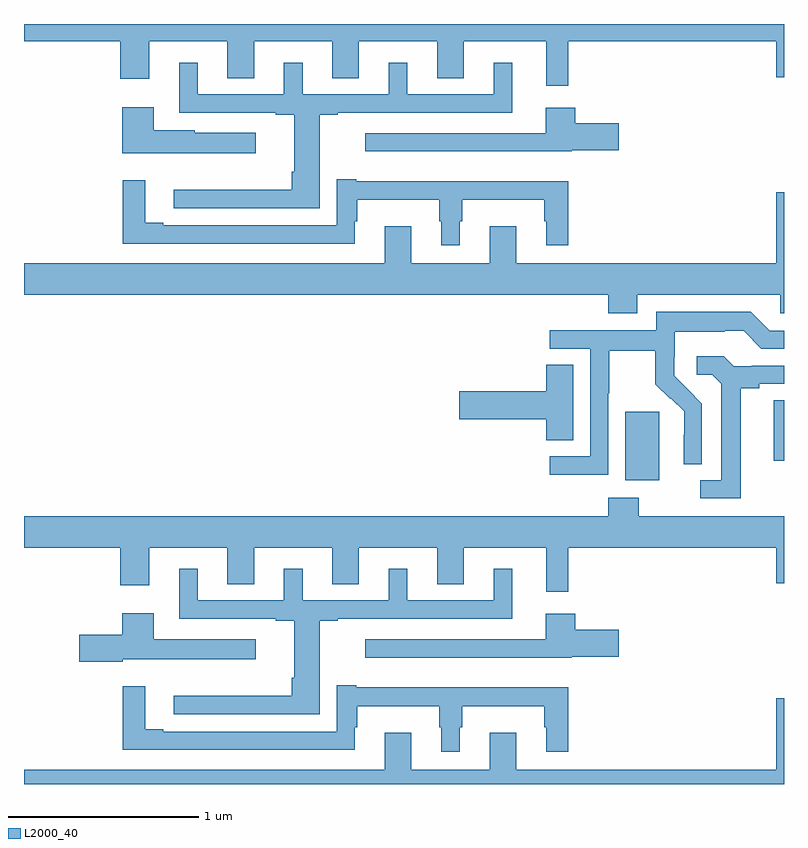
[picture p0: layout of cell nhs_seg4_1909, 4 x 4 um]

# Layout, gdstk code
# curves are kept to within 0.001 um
import gdstk
lib = gdstk.Library(unit=1e-6, precision=1e-09)
def R(c, l, rs):  # rectangles x0, y0, x1, y1
    for r in rs: c.add(gdstk.rectangle(r[:2], r[2:], *l))
def P(c, l, *ps):  # polygons
    for p in ps: c.add(gdstk.Polygon(p, *l))
L2000_40 = (2000, 40)

nhs_seg4_1909 = lib.new_cell('nhs_seg4_1909')
R(nhs_seg4_1909, L2000_40, [(212.165,806.498,212.344,806.859), (212.945,806.601,213,806.921)])
P(nhs_seg4_1909, L2000_40, [(209,808.808),(209.507,808.808),(209.507,808.611),(209.659,808.611),(209.659,808.808),(210.071,808.808),(210.071,808.615),(210.211,808.615),(210.211,808.808),(210.623,808.808),(210.623,808.615),(210.763,808.615),(210.763,808.808),(211.175,808.808),(211.175,808.615),(211.315,808.615),(211.315,808.808),(211.748,808.808),(211.748,808.575),(211.865,808.575),(211.865,808.808),(212.96,808.808),(212.96,808.62),(213,808.62),(213,808.9),(209,808.9)],
  [(210.556,808.422),(210.652,808.422),(210.652,808.434),(211.571,808.434),(211.571,808.696),(211.472,808.696),(211.472,808.53),(211.018,808.53),(211.018,808.696),(210.92,808.696),(210.92,808.53),(210.466,808.53),(210.466,808.696),(210.368,808.696),(210.368,808.53),(209.914,808.53),(209.914,808.696),(209.816,808.696),(209.816,808.434),(210.326,808.434),(210.326,808.422),(210.422,808.422),(210.422,808.123),(210.41,808.123),(210.41,808.028),(209.787,808.028),(209.787,807.93),(210.556,807.93)],
  [(210.22,808.327),(209.898,808.327),(209.898,808.342),(209.683,808.342),(209.683,808.462),(209.516,808.462),(209.516,808.22),(210.22,808.22)],
  [(211.884,808.235),(212.131,808.235),(212.131,808.377),(211.901,808.377),(211.901,808.459),(211.745,808.459),(211.745,808.326),(210.795,808.326),(210.795,808.229),(211.884,808.229)],
  [(211.294,807.863),(211.306,807.863),(211.306,807.974),(211.737,807.974),(211.737,807.863),(211.748,807.863),(211.748,807.735),(211.865,807.735),(211.865,808.072),(210.748,808.072),(210.748,808.084),(210.645,808.084),(210.645,807.84),(209.734,807.84),(209.734,807.853),(209.638,807.853),(209.638,808.078),(209.521,808.078),(209.521,807.744),(210.742,807.744),(210.742,807.863),(210.754,807.863),(210.754,807.974),(211.185,807.974),(211.185,807.863),(211.196,807.863),(211.196,807.735),(211.294,807.735)],
  [(212.227,807.476),(212.979,807.476),(212.979,807.378),(213,807.378),(213,808.015),(212.96,808.015),(212.96,807.64),(211.591,807.64),(211.591,807.835),(211.451,807.835),(211.451,807.64),(211.039,807.64),(211.039,807.835),(210.899,807.835),(210.899,807.64),(209,807.64),(209,807.476),(212.075,807.476),(212.075,807.377),(212.227,807.377)],
  [(212.076,806.956),(212.079,806.956),(212.079,807.18),(212.323,807.18),(212.323,807.005),(212.4,806.928),(212.403,806.931),(212.474,806.861),(212.474,806.738),(212.472,806.738),(212.472,806.584),(212.568,806.584),(212.568,806.902),(212.422,807.05),(212.422,807.147),(212.424,807.147),(212.424,807.281),(212.687,807.281),(212.687,807.285),(212.787,807.285),(212.88,807.192),(213,807.192),(213,807.285),(212.925,807.285),(212.825,807.385),(212.328,807.385),(212.328,807.288),(211.767,807.288),(211.767,807.192),(211.98,807.192),(211.98,806.625),(211.767,806.625),(211.767,806.527),(212.076,806.527)],
  [(212.773,806.984),(212.869,806.984),(212.869,807.006),(213,807.006),(213,807.102),(212.83,807.102),(212.83,807.099),(212.736,807.099),(212.684,807.151),(212.541,807.151),(212.541,807.054),(212.622,807.054),(212.669,807.007),(212.669,806.499),(212.559,806.499),(212.559,806.403),(212.773,806.403)],
  [(211.891,807.107),(211.748,807.107),(211.748,806.966),(211.29,806.966),(211.29,806.819),(211.748,806.819),(211.748,806.71),(211.891,806.71)],
  [(209,806.144),(209.507,806.144),(209.507,805.947),(209.659,805.947),(209.659,806.144),(210.071,806.144),(210.071,805.951),(210.211,805.951),(210.211,806.144),(210.623,806.144),(210.623,805.951),(210.763,805.951),(210.763,806.144),(211.175,806.144),(211.175,805.951),(211.315,805.951),(211.315,806.144),(211.748,806.144),(211.748,805.911),(211.865,805.911),(211.865,806.144),(212.96,806.144),(212.96,805.956),(213,805.956),(213,806.308),(212.235,806.308),(212.235,806.407),(212.075,806.407),(212.075,806.308),(209,806.308)],
  [(210.556,805.758),(210.652,805.758),(210.652,805.77),(211.571,805.77),(211.571,806.032),(211.472,806.032),(211.472,805.866),(211.018,805.866),(211.018,806.032),(210.92,806.032),(210.92,805.866),(210.466,805.866),(210.466,806.032),(210.368,806.032),(210.368,805.866),(209.914,805.866),(209.914,806.032),(209.816,806.032),(209.816,805.77),(210.326,805.77),(210.326,805.758),(210.422,805.758),(210.422,805.459),(210.41,805.459),(210.41,805.364),(209.787,805.364),(209.787,805.266),(210.556,805.266)],
  [(209.52,805.556),(210.22,805.556),(210.22,805.663),(209.683,805.663),(209.683,805.798),(209.516,805.798),(209.516,805.686),(209.292,805.686),(209.292,805.544),(209.52,805.544)],
  [(211.884,805.571),(212.131,805.571),(212.131,805.713),(211.901,805.713),(211.901,805.795),(211.745,805.795),(211.745,805.662),(210.795,805.662),(210.795,805.565),(211.884,805.565)],
  [(211.294,805.199),(211.306,805.199),(211.306,805.31),(211.737,805.31),(211.737,805.199),(211.748,805.199),(211.748,805.071),(211.865,805.071),(211.865,805.408),(210.748,805.408),(210.748,805.42),(210.645,805.42),(210.645,805.176),(209.734,805.176),(209.734,805.189),(209.638,805.189),(209.638,805.414),(209.521,805.414),(209.521,805.08),(210.742,805.08),(210.742,805.199),(210.754,805.199),(210.754,805.31),(211.185,805.31),(211.185,805.199),(211.196,805.199),(211.196,805.071),(211.294,805.071)],
  [(213,805.351),(212.96,805.351),(212.96,804.976),(211.591,804.976),(211.591,805.171),(211.451,805.171),(211.451,804.976),(211.039,804.976),(211.039,805.171),(210.899,805.171),(210.899,804.976),(209,804.976),(209,804.9),(213,804.9)])

lib.write_gds('nhs_seg4_1909.gds')
